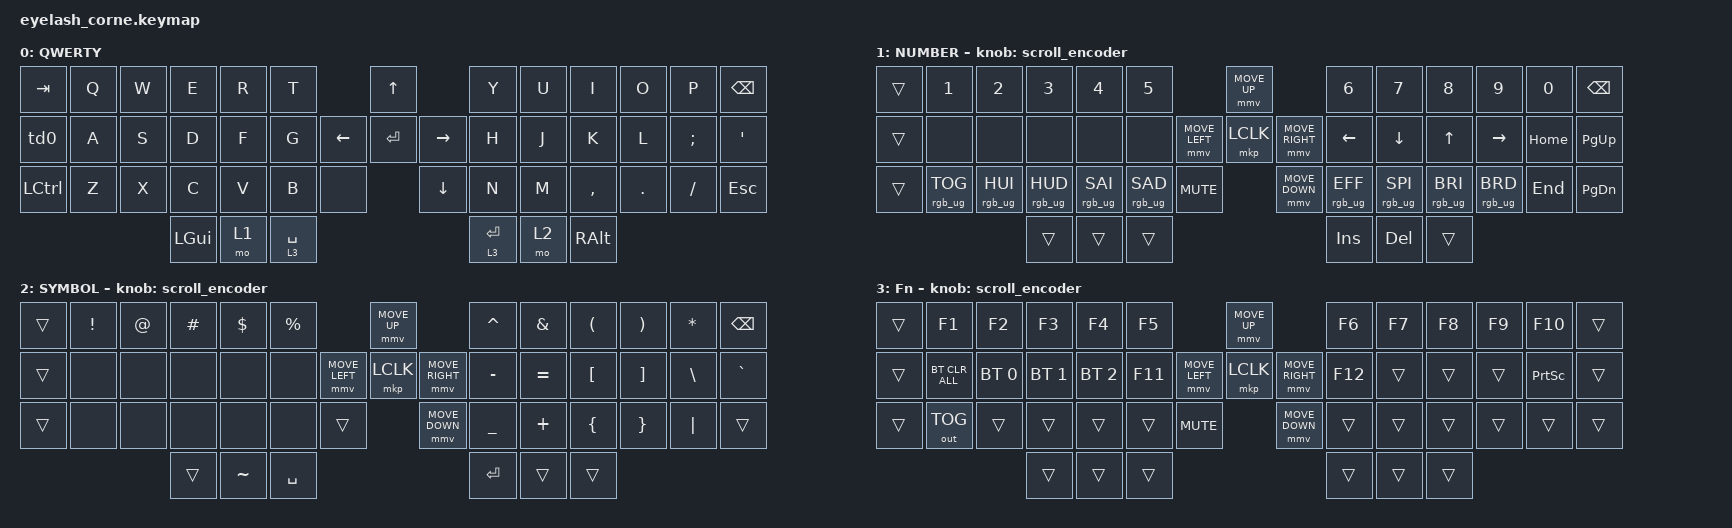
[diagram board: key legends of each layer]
#define ZMK_POINTING_DEFAULT_MOVE_VAL 1200  // 600
#define ZMK_POINTING_DEFAULT_SCRL_VAL 25   // 10

#include <input/processors.dtsi>
#include <zephyr/dt-bindings/input/input-event-codes.h>
#include <behaviors.dtsi>
#include <dt-bindings/zmk/bt.h>
#include <dt-bindings/zmk/keys.h>
#include <dt-bindings/zmk/outputs.h>
#include <dt-bindings/zmk/pointing.h>
#include <dt-bindings/zmk/rgb.h>

&mmv_input_listener { input-processors = <&zip_xy_scaler 2 1>; };

&msc_input_listener { input-processors = <&zip_scroll_scaler 2 1>; };

&msc {
    acceleration-exponent = <1>;      // 0
    time-to-max-speed-ms = <100>;       // 300
    delay-ms = <0>;                   // 0
};

&mmv {
    time-to-max-speed-ms = <500>;
    acceleration-exponent = <1>;
    trigger-period-ms = <16>;
};

/ {
    behaviors {
        td0: td0 {
            compatible = "zmk,behavior-tap-dance";
            display-name = "Shift/Caps Lock Tap Dance";
            #binding-cells = <0>;
            bindings = <&kp LEFT_SHIFT>, <&kp CAPS>;
        };

        new_behavior: new_behavior {
            compatible = "zmk,behavior-tap-dance";
            display-name = "Shift/Caps Lock Tap Dance";
            #binding-cells = <0>;
            bindings = <&kp LEFT_SHIFT>, <&kp CAPS>;

            label = "NEW_BEHAVIOR";
        };
    };

    rgb_encoder: rgb_encoder {
        compatible = "zmk,behavior-sensor-rotate";
        #sensor-binding-cells = <0>;
        bindings = <&rgb_ug RGB_BRI>, <&rgb_ug RGB_BRD>;
    };

    scroll_encoder: scroll_encoder {
        compatible = "zmk,behavior-sensor-rotate";
        #sensor-binding-cells = <0>;
        bindings = <&msc SCRL_DOWN>, <&msc SCRL_UP>;

        tap-ms = <100>;
    };

    keymap {
        compatible = "zmk,keymap";

        default_layer {
            display-name = "QWERTY";
            bindings = <
&kp TAB    &kp Q  &kp W  &kp E     &kp R  &kp T                           &kp UP                &kp Y        &kp U  &kp I      &kp O    &kp P          &kp BSPC
&td0       &kp A  &kp S  &kp D     &kp F  &kp G                 &kp LEFT  &kp ENTER  &kp RIGHT  &kp H        &kp J  &kp K      &kp L    &kp SEMICOLON  &kp SQT
&kp LCTRL  &kp Z  &kp X  &kp C     &kp V  &kp B        &none              &kp DOWN              &kp N        &kp M  &kp COMMA  &kp DOT  &kp FSLH       &kp ESCAPE
                         &kp LGUI  &mo 1  &lt 3 SPACE                                           &lt 3 ENTER  &mo 2  &kp RALT
            >;
        };

        lower_layer {
            display-name = "NUMBER";
            bindings = <
&trans  &kp N1           &kp N2           &kp N3           &kp N4           &kp N5                                         &mmv MOVE_UP                     &kp N6           &kp N7           &kp N8           &kp N9           &kp N0    &kp BSPC
&trans  &none            &none            &none            &none            &none                          &mmv MOVE_LEFT  &mkp LCLK       &mmv MOVE_RIGHT  &kp LEFT         &kp DOWN         &kp UP           &kp RIGHT        &kp HOME  &kp PG_UP
&trans  &rgb_ug RGB_TOG  &rgb_ug RGB_HUI  &rgb_ug RGB_HUD  &rgb_ug RGB_SAI  &rgb_ug RGB_SAD  &kp C_MUTE                    &mmv MOVE_DOWN                   &rgb_ug RGB_EFF  &rgb_ug RGB_SPI  &rgb_ug RGB_BRI  &rgb_ug RGB_BRD  &kp END   &kp PG_DN
                                          &trans           &trans           &trans                                                                          &kp INS          &kp DEL          &trans
            >;

            sensor-bindings = <&scroll_encoder>;
        };

        raise_layer {
            display-name = "SYMBOL";
            bindings = <
&trans  &kp EXCL  &kp AT  &kp HASH  &kp DLLR   &kp PRCNT                            &mmv MOVE_UP                     &kp CARET  &kp AMPS   &kp LEFT_PARENTHESIS  &kp RPAR  &kp ASTRK  &kp BSPC
&trans  &none     &none   &none     &none      &none                &mmv MOVE_LEFT  &mkp LCLK       &mmv MOVE_RIGHT  &kp MINUS  &kp EQUAL  &kp LBKT              &kp RBKT  &kp BSLH   &kp GRAVE
&trans  &none     &none   &none     &none      &none      &trans                    &mmv MOVE_DOWN                   &kp UNDER  &kp PLUS   &kp LBRC              &kp RBRC  &kp PIPE   &trans
                          &trans    &kp TILDE  &kp SPACE                                                             &kp RET    &trans     &trans
            >;

            sensor-bindings = <&scroll_encoder>;
        };

        layer_3 {
            display-name = "Fn";
            bindings = <
&trans  &kp F1          &kp F2        &kp F3        &kp F4        &kp F5                                 &mmv MOVE_UP                     &kp F6   &kp F7  &kp F8  &kp F9  &kp F10          &trans
&trans  &bt BT_CLR_ALL  &bt BT_SEL 0  &bt BT_SEL 1  &bt BT_SEL 2  &kp F11                &mmv MOVE_LEFT  &mkp LCLK       &mmv MOVE_RIGHT  &kp F12  &trans  &trans  &trans  &kp PRINTSCREEN  &trans
&trans  &out OUT_TOG    &trans        &trans        &trans        &trans   &kp C_MUTE                    &mmv MOVE_DOWN                   &trans   &trans  &trans  &trans  &trans           &trans
                                      &trans        &trans        &trans                                                                  &trans   &trans  &trans
            >;

            sensor-bindings = <&scroll_encoder>;
        };
    };
};
